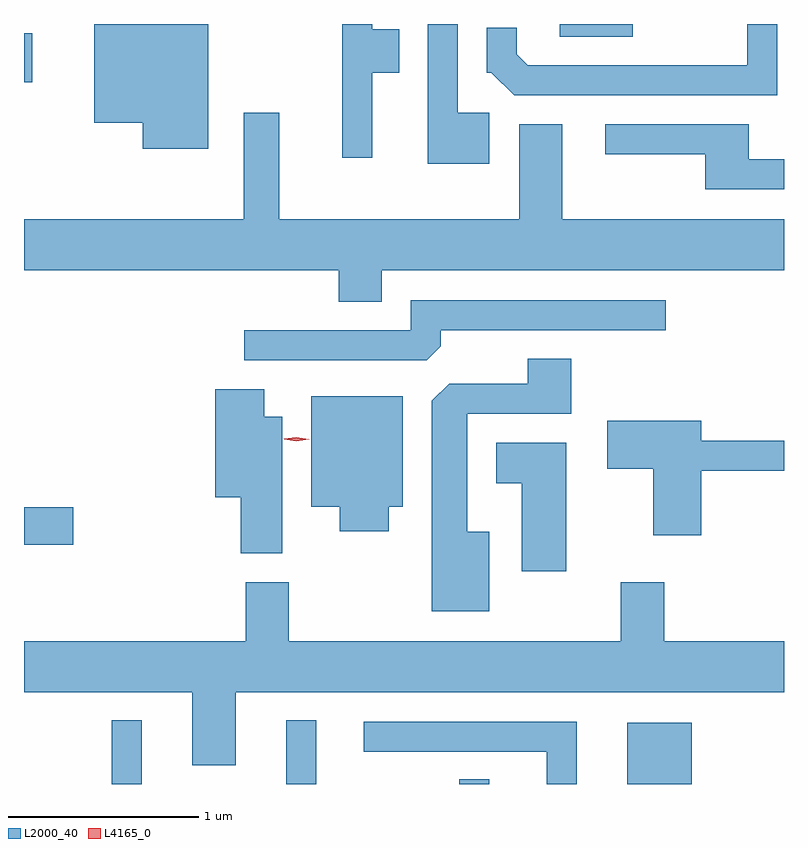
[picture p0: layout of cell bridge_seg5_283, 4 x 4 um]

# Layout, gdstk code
import gdstk
lib = gdstk.Library(unit=1e-6, precision=1e-09)
def R(c, l, rs):  # rectangles x0, y0, x1, y1
    for r in rs: c.add(gdstk.rectangle(r[:2], r[2:], *l))
def P(c, l, *ps):  # polygons
    for p in ps: c.add(gdstk.Polygon(p, *l))
L2000_40 = (2000, 40)
L4165_0 = (4165, 0)

bridge_seg5_283 = lib.new_cell('bridge_seg5_283')
R(bridge_seg5_283, L2000_40, [(699.316,1482.952,699.474,1483.288), (700.236,1482.952,700.394,1483.288), (701.146,1482.952,701.304,1482.978), (702.031,1482.952,702.369,1483.274), (698.855,1484.211,699.114,1484.409), (698.855,1486.646,698.899,1486.904), (701.676,1486.886,702.059,1486.952)])
P(bridge_seg5_283, L2000_40, [(701.304,1486.484),(701.139,1486.484),(701.139,1486.952),(700.981,1486.952),(700.981,1486.216),(701.304,1486.216)],
  [(699.824,1486.952),(699.226,1486.952),(699.226,1486.431),(699.481,1486.431),(699.481,1486.296),(699.824,1486.296)],
  [(700.689,1486.696),(700.829,1486.696),(700.829,1486.924),(700.689,1486.924),(700.689,1486.952),(700.531,1486.952),(700.531,1486.248),(700.689,1486.248)],
  [(702.819,1486.952),(702.661,1486.952),(702.661,1486.734),(701.507,1486.734),(701.449,1486.792),(701.449,1486.933),(701.291,1486.933),(701.291,1486.696),(701.314,1486.696),(701.434,1486.576),(702.819,1486.576)],
  [(700.739,1485.656),(702.855,1485.656),(702.855,1485.924),(701.689,1485.924),(701.689,1486.424),(701.461,1486.424),(701.461,1485.924),(700.199,1485.924),(700.199,1486.484),(700.011,1486.484),(700.011,1485.924),(698.855,1485.924),(698.855,1485.656),(700.511,1485.656),(700.511,1485.491),(700.739,1485.491)],
  [(702.855,1486.239),(702.669,1486.239),(702.669,1486.424),(701.913,1486.424),(701.913,1486.266),(702.441,1486.266),(702.441,1486.081),(702.855,1486.081)],
  [(701.049,1485.257),(701.049,1485.341),(702.233,1485.341),(702.233,1485.499),(700.891,1485.499),(700.891,1485.339),(700.013,1485.339),(700.013,1485.181),(700.974,1485.181)],
  [(701.304,1484.279),(701.189,1484.279),(701.189,1484.901),(701.734,1484.901),(701.734,1485.189),(701.506,1485.189),(701.506,1485.059),(701.092,1485.059),(701.001,1484.969),(701.001,1483.861),(701.304,1483.861)],
  [(700.214,1484.884),(700.119,1484.884),(700.119,1485.029),(699.861,1485.029),(699.861,1484.461),(699.996,1484.461),(699.996,1484.166),(700.214,1484.166)],
  [(700.774,1484.411),(700.849,1484.411),(700.849,1484.994),(700.366,1484.994),(700.366,1484.411),(700.516,1484.411),(700.516,1484.281),(700.774,1484.281)],
  [(702.419,1484.601),(702.855,1484.601),(702.855,1484.759),(702.419,1484.759),(702.419,1484.864),(701.926,1484.864),(701.926,1484.611),(702.166,1484.611),(702.166,1484.261),(702.419,1484.261)],
  [(701.709,1484.749),(701.341,1484.749),(701.341,1484.536),(701.476,1484.536),(701.476,1484.071),(701.709,1484.071)],
  [(699.969,1483.436),(702.855,1483.436),(702.855,1483.704),(702.224,1483.704),(702.224,1484.014),(701.996,1484.014),(701.996,1483.704),(700.249,1483.704),(700.249,1484.014),(700.021,1484.014),(700.021,1483.704),(698.855,1483.704),(698.855,1483.436),(699.741,1483.436),(699.741,1483.051),(699.969,1483.051)],
  [(701.764,1483.279),(700.643,1483.279),(700.643,1483.121),(701.606,1483.121),(701.606,1482.952),(701.764,1482.952)])
P(bridge_seg5_283, L4165_0, [(700.289,1484.757),(700.224,1484.767),(700.223,1484.768),(700.224,1484.768),(700.289,1484.777),(700.355,1484.767),(700.355,1484.767),(700.355,1484.766)])

lib.write_gds('bridge_seg5_283.gds')
